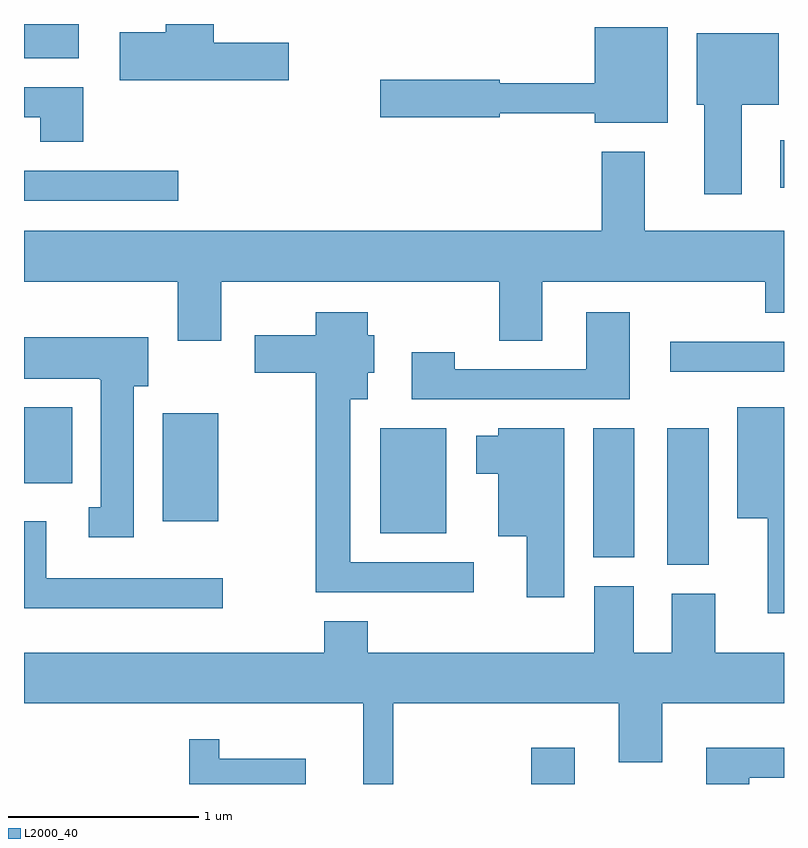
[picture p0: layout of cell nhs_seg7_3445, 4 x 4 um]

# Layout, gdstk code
import gdstk
lib = gdstk.Library(unit=1e-6, precision=1e-09)
def R(c, l, rs):  # rectangles x0, y0, x1, y1
    for r in rs: c.add(gdstk.rectangle(r[:2], r[2:], *l))
def P(c, l, *ps):  # polygons
    for p in ps: c.add(gdstk.Polygon(p, *l))
L2000_40 = (2000, 40)

nhs_seg7_3445 = lib.new_cell('nhs_seg7_3445')
R(nhs_seg7_3445, L2000_40, [(292.281,1798.252,292.509,1798.444), (292.996,1799.406,293.214,1800.124), (292.606,1799.446,292.824,1800.124), (291.486,1799.571,291.834,1800.124), (290.341,1799.636,290.634,1800.204), (289.611,1799.836,289.864,1800.234), (293.013,1800.421,293.611,1800.579), (289.611,1801.321,290.423,1801.479), (293.591,1801.391,293.611,1801.639), (289.611,1802.071,289.899,1802.252)])
P(nhs_seg7_3445, L2000_40, [(291.004,1802.154),(290.609,1802.154),(290.609,1802.252),(290.356,1802.252),(290.356,1802.209),(290.116,1802.209),(290.116,1801.956),(291.004,1801.956)],
  [(292.999,1802.234),(292.616,1802.234),(292.616,1801.939),(292.114,1801.939),(292.114,1801.959),(291.486,1801.959),(291.486,1801.761),(292.114,1801.761),(292.114,1801.781),(292.616,1801.781),(292.616,1801.731),(292.999,1801.731)],
  [(293.389,1801.826),(293.584,1801.826),(293.584,1802.204),(293.151,1802.204),(293.151,1801.826),(293.191,1801.826),(293.191,1801.356),(293.389,1801.356)],
  [(289.924,1801.919),(289.611,1801.919),(289.611,1801.761),(289.696,1801.761),(289.696,1801.631),(289.924,1801.631)],
  [(290.649,1800.896),(292.111,1800.896),(292.111,1800.586),(292.339,1800.586),(292.339,1800.896),(293.511,1800.896),(293.511,1800.731),(293.611,1800.731),(293.611,1801.164),(292.879,1801.164),(292.879,1801.579),(292.651,1801.579),(292.651,1801.164),(289.611,1801.164),(289.611,1800.896),(290.421,1800.896),(290.421,1800.586),(290.649,1800.586)],
  [(291.978,1799.419),(291.329,1799.419),(291.329,1800.276),(291.419,1800.276),(291.419,1800.416),(291.454,1800.416),(291.454,1800.614),(291.419,1800.614),(291.419,1800.734),(291.146,1800.734),(291.146,1800.614),(290.826,1800.614),(290.826,1800.416),(291.146,1800.416),(291.146,1799.261),(291.978,1799.261)],
  [(292.799,1800.734),(292.571,1800.734),(292.571,1800.434),(291.879,1800.434),(291.879,1800.524),(291.651,1800.524),(291.651,1800.276),(292.799,1800.276)],
  [(290.189,1800.346),(290.264,1800.346),(290.264,1800.604),(289.611,1800.604),(289.611,1800.386),(290.01,1800.386),(290.01,1800.38),(290.016,1800.38),(290.016,1799.709),(289.953,1799.709),(289.953,1799.551),(290.189,1799.551)],
  [(293.611,1800.234),(293.366,1800.234),(293.366,1799.651),(293.526,1799.651),(293.526,1799.151),(293.611,1799.151)],
  [(292.454,1800.124),(292.106,1800.124),(292.106,1800.084),(291.991,1800.084),(291.991,1799.886),(292.106,1799.886),(292.106,1799.556),(292.256,1799.556),(292.256,1799.236),(292.454,1799.236)],
  [(290.658,1799.334),(289.729,1799.334),(289.729,1799.634),(289.611,1799.634),(289.611,1799.176),(290.658,1799.176)],
  [(291.554,1798.676),(292.741,1798.676),(292.741,1798.366),(292.969,1798.366),(292.969,1798.676),(293.611,1798.676),(293.611,1798.944),(293.249,1798.944),(293.249,1799.254),(293.021,1799.254),(293.021,1798.944),(292.819,1798.944),(292.819,1799.294),(292.611,1799.294),(292.611,1798.944),(291.419,1798.944),(291.419,1799.109),(291.191,1799.109),(291.191,1798.944),(289.611,1798.944),(289.611,1798.676),(291.396,1798.676),(291.396,1798.252),(291.554,1798.252)],
  [(291.094,1798.384),(290.639,1798.384),(290.639,1798.488),(290.481,1798.488),(290.481,1798.252),(291.094,1798.252)],
  [(293.429,1798.286),(293.611,1798.286),(293.611,1798.444),(293.201,1798.444),(293.201,1798.252),(293.429,1798.252)])

lib.write_gds('nhs_seg7_3445.gds')
